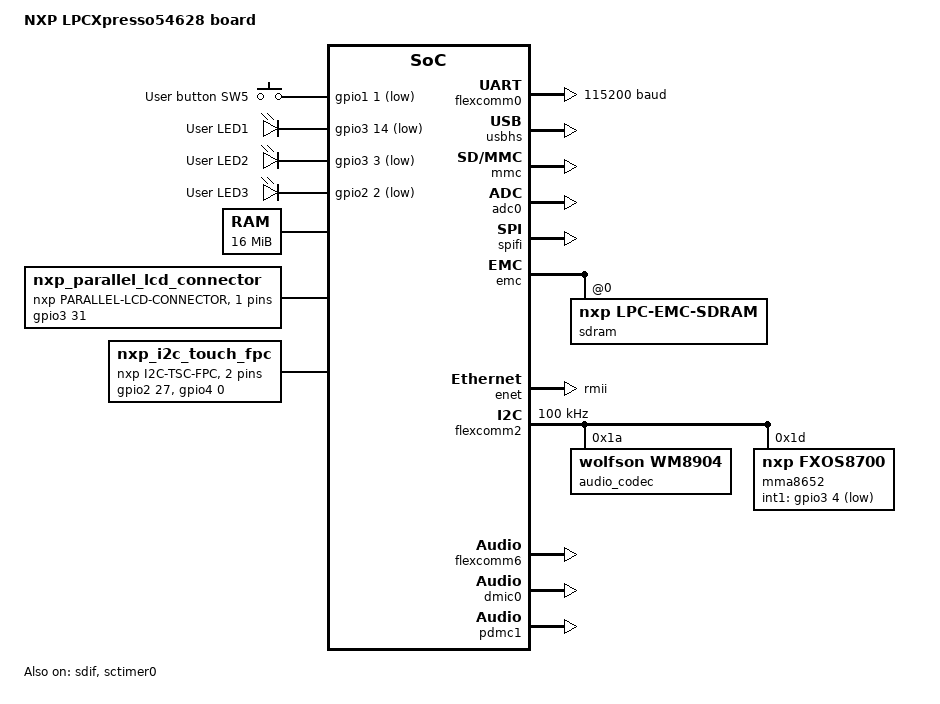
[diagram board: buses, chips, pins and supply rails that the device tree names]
/*
 * Copyright 2026 NXP
 *
 * SPDX-License-Identifier: Apache-2.0
 */

/dts-v1/;

#include <nxp/lpc/nxp_lpc546xx.dtsi>
#include <zephyr/dt-bindings/input/input-event-codes.h>
#include <zephyr/dt-bindings/pwm/pwm.h>
#include "lpcxpresso54628-pinctrl.dtsi"

/ {
	model = "NXP LPCXpresso54628 board";
	compatible = "nxp,lpc546xx", "nxp,lpc";

	chosen {
		zephyr,sram = &sram0;
		zephyr,flash = &flash0;
		zephyr,console = &flexcomm0;
		zephyr,shell-uart = &flexcomm0;
	};

	aliases {
		led0 = &led1;
		led1 = &led2;
		led2 = &led3;
		usart-0 = &flexcomm0;
		sw0 = &user_button;
		dmic0 = &dmic0;
	};

	/*
	 * SW5 is the only usable push button. The ISP buttons SW2/SW3/SW4 are
	 * wired to P0_6/P0_5/P0_4, which this board uses as EMC_D4/EMC_D3/EMC_D2
	 * for the SDRAM, so they cannot be read as GPIO while the EMC is active
	 * and are intentionally not exposed here.
	 */
	gpio_keys {
		compatible = "gpio-keys";

		user_button: button_0 {
			label = "User button SW5";
			gpios = <&gpio1 1 (GPIO_ACTIVE_LOW | GPIO_PULL_UP)>;
			zephyr,code = <INPUT_KEY_0>;
		};
	};

	leds {
		compatible = "gpio-leds";

		led1: led_1 {
			gpios = <&gpio3 14 GPIO_ACTIVE_LOW>;
			label = "User LED1";
		};

		led2: led_2 {
			gpios = <&gpio3 3 GPIO_ACTIVE_LOW>;
			label = "User LED2";
		};

		led3: led_3 {
			gpios = <&gpio2 2 GPIO_ACTIVE_LOW>;
			label = "User LED3";
		};
	};

	/*
	 * 16 MB external SDRAM (Micron MT48LC8M16A2) on the EMC dynamic
	 * chip-select 0. Declared as a memory-region so data (e.g. the LVGL
	 * framebuffers, which do not fit in internal SRAM) can be linked here.
	 */
	sdram0: memory@a0000000 {
		compatible = "zephyr,memory-region", "mmio-sram";
		reg = <0xa0000000 DT_SIZE_M(16)>;
		zephyr,memory-region = "SDRAM";
	};

	/*
	 * GPIO pins of the parallel-LCD FPC connector, shared across NXP EVKs
	 * and used by the parallel-display shields.
	 */
	nxp_parallel_lcd_connector: parallel-connector {
		compatible = "nxp,parallel-lcd-connector";
		#gpio-cells = <2>;
		gpio-map-mask = <0xffffffff 0xffffffc0>;
		gpio-map-pass-thru = <0 0x3f>;
		gpio-map = <0 0 &gpio3 31 0>;	/* Pin 1: LCD backlight enable */
	};

	/* GPIO pins of the I2C touch-controller FPC connector. */
	nxp_i2c_touch_fpc: i2c-touch-connector {
		compatible = "nxp,i2c-tsc-fpc";
		#gpio-cells = <2>;
		gpio-map-mask = <0xffffffff 0xffffffc0>;
		gpio-map-pass-thru = <0 0x3f>;
		gpio-map = <1 0 &gpio2 27 0>,	/* Pin 2: touch reset  */
			   <2 0 &gpio4 0 0>;	/* Pin 3: touch interrupt */
	};
};

&cpu0 {
	clock-frequency = <DT_FREQ_M(220)>;
};

/*
 * Default for this board is to use the full 160 KB of contiguous main SRAM
 * (SRAM0-2) as a single region; an application can provide its own devicetree
 * to allocate the SRAM banks differently.
 */
&sram0 {
	reg = <0x20000000 DT_SIZE_K(160)>;
};

&flexcomm0 {
	status = "okay";
	compatible = "nxp,lpc-usart";
	current-speed = <115200>;
	pinctrl-0 = <&pinmux_flexcomm0_usart>;
	pinctrl-names = "default";
};

&usbfs {
	pinctrl-0 = <&pinmux_usbfs>;
	pinctrl-names = "default";
};

zephyr_udc0: &usbhs {
	status = "okay";
};

/* Full-size SD card slot (J7), 4-bit SDIO. */
&sdif {
	status = "okay";
	pinctrl-0 = <&pinmux_sdif>;
	pinctrl-names = "default";

	mmc {
		compatible = "zephyr,sdmmc-disk";
		disk-name = "SD";
		status = "okay";
	};
};

/* On-chip 12-bit SAR ADC; channel 4 (PIO0_16) routed by default. */
&adc0 {
	status = "okay";
	pinctrl-0 = <&pinmux_adc0>;
	pinctrl-names = "default";
};

/* On-board Winbond W25Q128JV (128 Mbit / 16 MiB) QSPI NOR on the SPIFI bus. */
&spifi {
	status = "okay";
	pinctrl-0 = <&pinmux_spifi>;
	pinctrl-names = "default";
	spi-max-frequency = <30000000>;
	jedec-id = [ef 40 18];
	size = <DT_SIZE_M(128)>;

	partitions {
		compatible = "fixed-partitions";
		#address-cells = <1>;
		#size-cells = <1>;

		storage_partition: partition@0 {
			label = "storage";
			reg = <0x0 DT_SIZE_M(16)>;
		};
	};
};

&emc {
	status = "okay";
	pinctrl-0 = <&pinmux_emc>;
	pinctrl-names = "default";
	/* Read-capture delay for the 110 MHz EMC clock (found by memory test;
	 * valid window 22-31, 26 is centered for margin). */
	nxp,emc-feedback-clock-delay = <26>;

	sdram@0 {
		compatible = "nxp,lpc-emc-sdram";
		reg = <0>;			/* EMC dynamic chip-select 0 (DYCS0) */
		nxp,address-mapping = <0x09>;	/* 16-bit, 4 banks, 12 rows, 9 cols */
		nxp,sdram-mode-register = <0x33>;
		nxp,ras-latency = <2>;
		nxp,mode-register-delay = <2>;
		refresh-period-ns = <15625>;
		t-rp-ns = <18>;
		t-ras-ns = <42>;
		t-srex-ns = <67>;
		t-apr-ns = <18>;
		t-wr-ns = <6>;
		t-rc-ns = <60>;
		t-rfc-ns = <60>;
		t-xsr-ns = <67>;
		t-rrd-ns = <12>;
	};
};

/* 10/100 RMII Ethernet to the on-board LAN8720A PHY and RJ45 jack. */
&enet {
	status = "okay";
	pinctrl-0 = <&pinmux_enet>;
	pinctrl-names = "default";
	phy-connection-type = "rmii";
};

/*
 * Expose the LCDC under the label the parallel-display shields expect. The
 * panel timings, resolution, pixel format and backlight come from the shield;
 * the board supplies the pin routing and the R/B swap this panel requires.
 */
zephyr_lcdif: &lcdc {
	pinctrl-0 = <&pinmux_lcd>;
	pinctrl-names = "default";
	memory-region = <&sdram0>;
	nxp,swap-red-blue;
	/*
	 * Backlight brightness via SCTimer PWM on P3_31 (1 kHz). The LCDC driver
	 * uses this for display_set_brightness() and blanking; it takes
	 * precedence over the shield's GPIO backlight-enable on the same pin.
	 */
	pwms = <&sctimer0 5 PWM_HZ(1000) PWM_POLARITY_NORMAL>;
};

/* SCTimer0 output 5 drives the LCD backlight PWM (P3_31). */
&sctimer0 {
	status = "okay";
	pinctrl-0 = <&pinmux_sctimer0_lcd>;
	pinctrl-names = "default";
};

/*
 * FlexComm2 is the shared on-board I2C bus: the WM8904 audio codec (0x1a), the
 * MMA8652 accelerometer (0x1d) and, on the parallel-display shield, the touch
 * controller (0x38). Enabled here for the on-board codec.
 */
nxp_touch_i2c: &flexcomm2 {
	compatible = "nxp,lpc-i2c";
	status = "okay";
	clock-frequency = <I2C_BITRATE_STANDARD>;
	#address-cells = <1>;
	#size-cells = <0>;
	pinctrl-0 = <&pinmux_flexcomm2_i2c>;
	pinctrl-names = "default";

	audio_codec: wm8904@1a {
		compatible = "wolfson,wm8904";
		reg = <0x1a>;
		clock-source = "MCLK";
		clocks = <&syscon MCUX_AUDIO_MCLK>;
		clock-names = "mclk";
	};

	/*
	 * NXP MMA8652FC 3-axis accelerometer. Handled by the fxos8700 driver
	 * (auto-detected by WHOAMI). INT1 is wired to P3_4; INT2 is unconnected.
	 */
	mma8652: mma8652@1d {
		compatible = "nxp,fxos8700", "nxp,mma8652fc";
		reg = <0x1d>;
		int1-gpios = <&gpio3 4 GPIO_ACTIVE_LOW>;
	};
};

/* DMA controller: required by the FlexComm I2S audio channels. */
&dma0 {
	status = "okay";
};

/*
 * I2S transmit (playback) to the WM8904 codec on FlexComm6. The pads are only
 * otherwise used as unused EMC chip-selects, so this is always available.
 */
i2s_tx: &flexcomm6 {
	status = "okay";
	compatible = "nxp,lpc-i2s";
	#address-cells = <1>;
	#size-cells = <0>;
	pinctrl-0 = <&pinmux_flexcomm6_i2s>;
	pinctrl-names = "default";
};

/*
 * I2S receive (record) from the WM8904 codec on FlexComm7. Its pads are shared
 * with the parallel LCD (LCD_VD0-2), so it is disabled by default; an
 * application that records audio and does not drive the parallel display
 * enables it.
 */
i2s_rx: &flexcomm7 {
	compatible = "nxp,lpc-i2s";
	#address-cells = <1>;
	#size-cells = <0>;
	pinctrl-0 = <&pinmux_flexcomm7_i2s>;
	pinctrl-names = "default";
};

/* On-board MEMS digital microphone (SPH0641LM4H) on DMIC channel 1. */
&dmic0 {
	status = "okay";
	pinctrl-0 = <&pinmux_dmic>;
	pinctrl-names = "default";
};

&pdmc1 {
	status = "okay";
};
